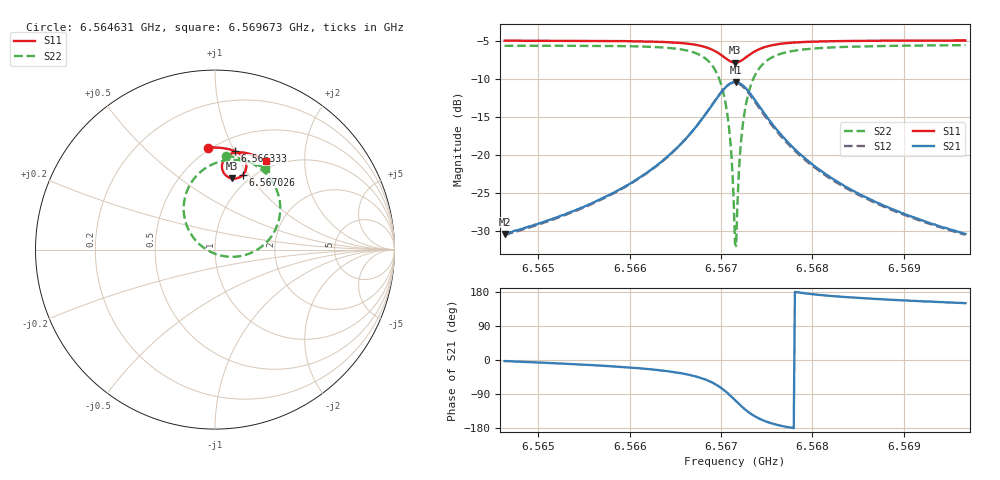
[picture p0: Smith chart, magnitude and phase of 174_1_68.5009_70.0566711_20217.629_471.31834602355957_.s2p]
#  HZ  S  RI  R  50.00
! Rohde & Schwarz Vector Network Analyzer
! Rohde-Schwarz,ZNB20-2Port,1311601062101988,3.16
! Created: UTC 3/20/2024, 5:11:33 PM
! freq[Hz]  re:S11  im:S11  re:S21  im:S21  re:S12  im:S12  re:S22  im:S22
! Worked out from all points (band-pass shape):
!   401 points, 6.564631 GHz to 6.569673 GHz, reference 50 ohm
!   highest |S21| = -10.36 dB at 6.567165 GHz (marker M1); lowest = -30.4 dB at 6.564631 GHz (marker M2)
!   |S21| within 3 dB of the highest: 6.566903 GHz to 6.567406 GHz (502.8 kHz wide, 0.00766 % of centre)
!   lowest |S11| = -7.8 dB at 6.567152 GHz (marker M3), VSWR 2.37, Z = 42.5 + j40.4 ohm
!   |S11| at or under -10 dB: nowhere
!   |S22| runs from -32.0 to -5.5 dB; largest |S21 - S12| = 0.015
!   S11 on the Smith chart (normalised r, x): 6.564631 GHz: 0.48, +0.81; 6.566333 GHz: 0.63, +1.01; 6.567026 GHz: 0.90, +0.94; 6.569673 GHz: 0.89, +1.31
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6.5646309e9  -0.0415 0.5676  0.0301 -0.0015  0.0297 -0.00201  0.0592 0.5227
6.5654755e9  0.0287 0.567  0.044 -0.00938  0.0433 -0.01  0.1424 0.5063
6.5663201e9  0.1106 0.5483  0.0782 -0.0396  0.0771 -0.0405  0.2625 0.443
6.5663327e9  0.1119 0.5477  0.079 -0.0407  0.0779 -0.0417  0.2651 0.4407
6.5666227e9  0.1473 0.5246  0.1026 -0.0795  0.101 -0.0811  0.3281 0.3646
6.5668244e9  0.1707 0.4878  0.1151 -0.1434  0.1123 -0.1465  0.3636 0.2412
6.5669378e9  0.1731 0.4517  0.1006 -0.2068  0.0949 -0.2107  0.3408 0.1205
6.5670261e9  0.1563 0.4178  0.0543 -0.2646  0.0445 -0.2677  0.2552 0.0129
6.5670891e9  0.1287 0.3994  -0.00698 -0.2936  -0.0197 -0.293  0.1418 -0.0362
6.5671143e9  0.1147 0.3959  -0.0366 -0.2974  -0.0501 -0.2947  0.0879 -0.0404
6.5671395e9  0.0998 0.3958  -0.0675 -0.2952  -0.0809 -0.2901  0.0326 -0.0333
6.5671521e9  0.0923 0.3968  -0.0828 -0.2917  -0.096 -0.2855  0.00573 -0.0254
6.5671647e9  0.085 0.3988  -0.0977 -0.2871  -0.1104 -0.2795  -0.0201 -0.0149
6.5671773e9  0.078 0.4015  -0.112 -0.2807  -0.1241 -0.2722  -0.0446 -0.00181
6.5672151e9  0.0598 0.4139  -0.1495 -0.2544  -0.1588 -0.2432  -0.1066 0.0496
6.5672404e9  0.0507 0.4246  -0.1685 -0.2327  -0.1759 -0.2205  -0.1364 0.0904
6.5672908e9  0.0404 0.4483  -0.1917 -0.1858  -0.195 -0.1732  -0.1694 0.1758
6.5673538e9  0.0397 0.4761  -0.1981 -0.132  -0.1978 -0.1209  -0.1714 0.2703
6.5675807e9  0.0779 0.5285  -0.1516 -0.0291  -0.1482 -0.0244  -0.0677 0.4435
6.5679967e9  0.1414 0.5422  -0.0863 0.00952  -0.0842 0.0108  0.0756 0.4985
6.5688413e9  0.2233 0.5234  -0.0418 0.0159  -0.0409 0.0163  0.2074 0.4829
6.5696733e9  0.2861 0.4939  -0.0261 0.015  -0.0255 0.0152  0.2843 0.4491
